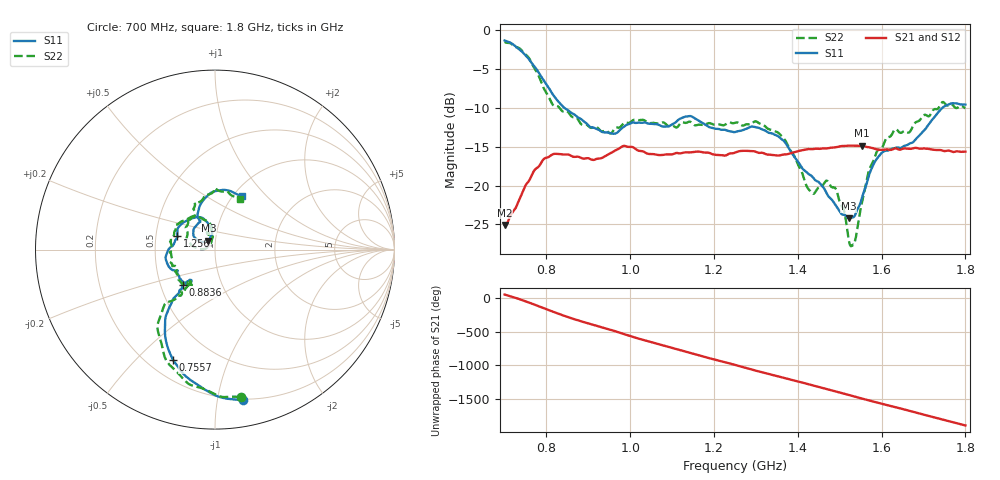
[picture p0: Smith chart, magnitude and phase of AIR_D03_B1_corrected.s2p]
! Created with skrf 1.9.0 (http://scikit-rf.org).
# Hz S RI R 50.0
!freq ReS11 ImS11 ReS21 ImS21 ReS12 ImS12 ReS22 ImS22
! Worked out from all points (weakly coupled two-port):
!   1601 points, 700 MHz to 1.8 GHz, reference 50 ohm
!   highest |S21| = -14.87 dB at 1.552 GHz (marker M1); lowest = -25.0 dB at 700.7 MHz (marker M2)
!   lowest |S11| = -24.2 dB at 1.522 GHz (marker M3), VSWR 1.13, Z = 46.3 + j4.62 ohm
!   |S11| at or under -10 dB: 841.8 MHz to 1.746 GHz (903.9 MHz wide, 69.9 % of centre)
!   |S22| runs from -27.8 to -1.6 dB; largest |S21 - S12| = 0.0034
!   S11 on the Smith chart (normalised r, x): 700 MHz: 0.19, -1.18; 755.7 MHz: 0.30, -0.65; 883.6 MHz: 0.65, -0.27; 1.256 GHz: 0.65, +0.10; 1.8 GHz: 1.09, +0.73
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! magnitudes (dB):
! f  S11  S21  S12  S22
! 700 MHz  -1.4  -25.0  -24.8  -1.6
! 700.7 MHz  -1.4  -25.0  -24.8  -1.6
! 755.7 MHz  -3.6  -19.6  -19.5  -3.5
! 814.1 MHz  -8.2  -16.0  -16.0  -9.6
! 883.6 MHz  -11.5  -16.5  -16.4  -12.2
! 959.2 MHz  -13.4  -15.7  -15.7  -13.0
! 1.067 GHz  -12.2  -16.1  -16.0  -12.1
! 1.142 GHz  -11.1  -15.7  -15.7  -11.8
! 1.25 GHz  -13.1  -15.8  -15.7  -11.9
! 1.256 GHz  -13.0  -15.7  -15.7  -11.9
! 1.357 GHz  -13.8  -16.1  -16.1  -13.4
! 1.434 GHz  -18.8  -15.3  -15.3  -21.0
! 1.489 GHz  -22.4  -15.1  -15.1  -20.3
! 1.51 GHz  -23.7  -14.9  -14.9  -23.2
! 1.522 GHz  -24.2  -14.9  -14.9  -27.0
! 1.535 GHz  -24.0  -14.9  -14.9  -27.4
! 1.552 GHz  -21.7  -14.9  -14.9  -22.3
! 1.573 GHz  -18.2  -15.1  -15.1  -17.6
! 1.617 GHz  -15.5  -15.4  -15.4  -13.8
! 1.676 GHz  -14.4  -15.2  -15.3  -12.3
! 1.746 GHz  -10.0  -15.5  -15.4  -9.3
! 1.8 GHz  -9.6  -15.6  -15.6  -10.1
